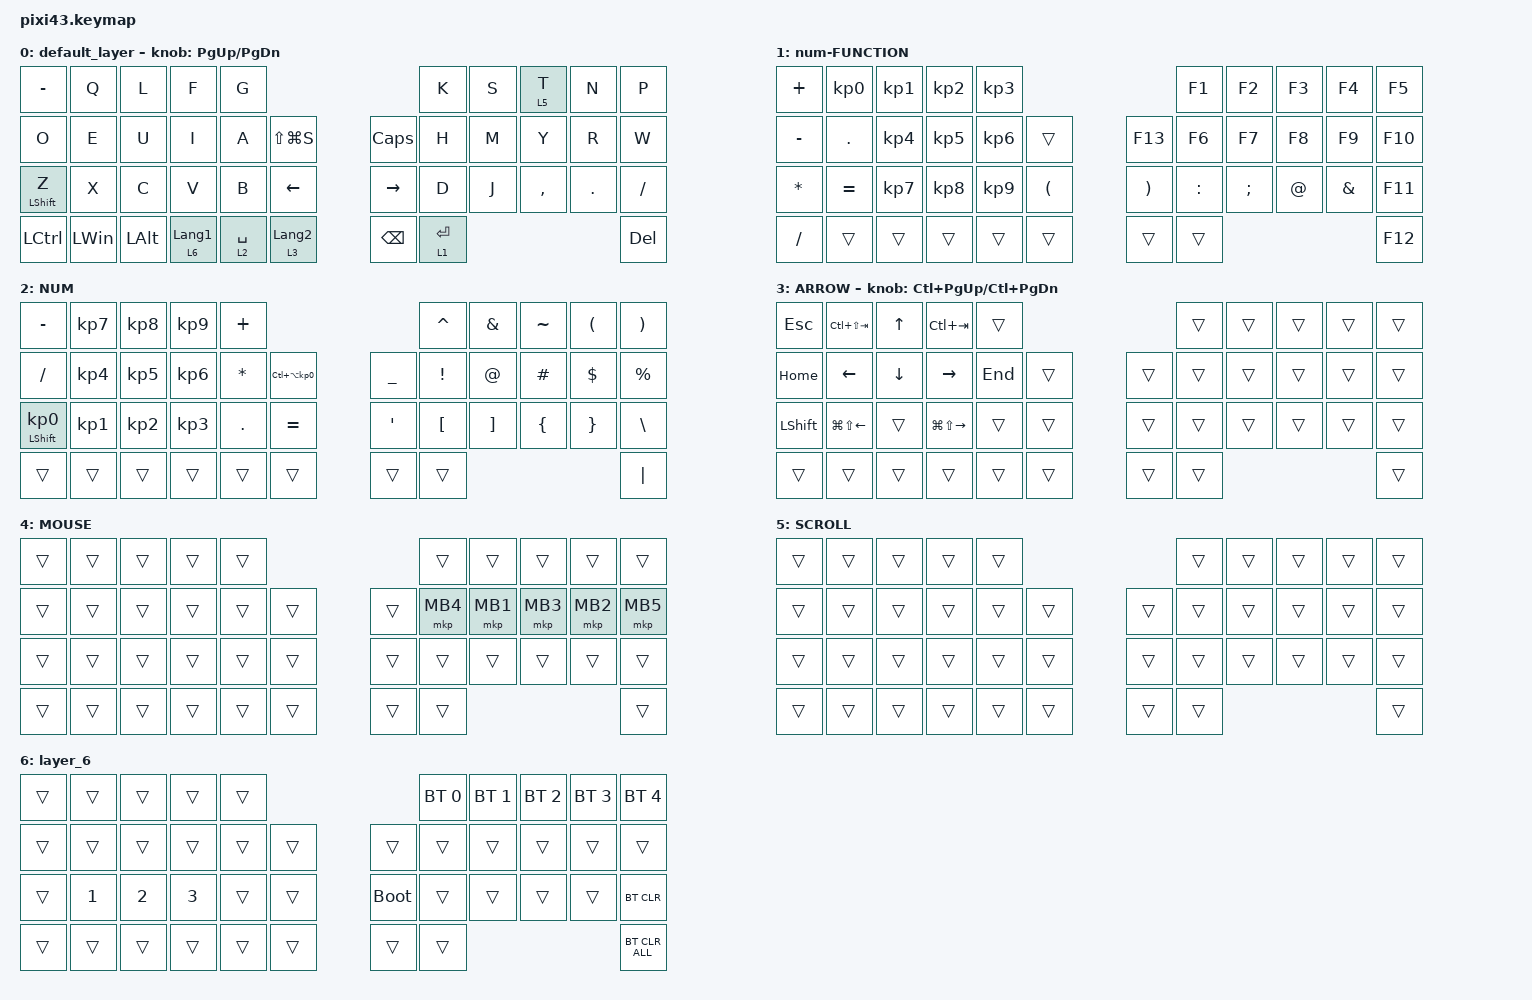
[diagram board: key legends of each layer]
#include <behaviors.dtsi>
#include <dt-bindings/zmk/bt.h>
#include <dt-bindings/zmk/keys.h>
#include <dt-bindings/zmk/pointing.h>

&mt {
    flavor = "balanced";
    quick-tap-ms = <0>;
};

&trackball {
    automouse-layer = <4>;
    scroll-layers = <5>;

    // arrows {
    //     layers = <3>;
    //     bindings =
    //         <&kp RIGHT_ARROW>,
    //         <&kp LEFT_ARROW>,
    //         <&kp UP_ARROW>,
    //         <&kp DOWN_ARROW>;
    //     tick = <10>;
    //     wait-ms = <5>;
    //     tap-ms = <5>;
    // };
};

/ {
    combos {
        compatible = "zmk,combos";

        tab {
            bindings = <&kp TAB>;
            key-positions = <11 12>;
        };

        shift_tab {
            bindings = <&kp LS(TAB)>;
            key-positions = <12 13>;
        };

        muhennkann {
            bindings = <&to_layer_0 INT_MUHENKAN>;
            key-positions = <11 10>;
        };

        double_quotation {
            bindings = <&kp DOUBLE_QUOTES>;
            key-positions = <20 21>;
        };

        eq {
            bindings = <&kp EQUAL>;
            key-positions = <24 25>;
        };
    };

    macros {
        to_layer_0: to_layer_0 {
            compatible = "zmk,behavior-macro-one-param";
            #binding-cells = <1>;
            bindings = <&to 0 &macro_param_1to1 &kp MACRO_PLACEHOLDER>;
            label = "TO_LAYER_0";
        };
    };

    behaviors {
        lt_to_layer_0: lt_to_layer_0 {
            compatible = "zmk,behavior-hold-tap";
            label = "LAYER_TAP_TO_0";
            bindings = <&mo>, <&to_layer_0>;

            #binding-cells = <2>;
            tapping-term-ms = <200>;
        };
    };

    keymap {
        compatible = "zmk,keymap";

        default_layer {
            bindings = <
&kp MINUS         &kp Q         &kp L         &kp F                        &kp G                                                        &kp K        &kp S  &lt 5 T    &kp N    &kp P
&kp O             &kp E         &kp U         &kp I                        &kp A        &kp LS(LG(S))                    &kp CLCK       &kp H        &kp M  &kp Y      &kp R    &kp W
&mt LEFT_SHIFT Z  &kp X         &kp C         &kp V                        &kp B        &kp LEFT_ARROW                   &kp RIGHT      &kp D        &kp J  &kp COMMA  &kp DOT  &kp SLASH
&kp LCTRL         &kp LEFT_WIN  &kp LEFT_ALT  &lt_to_layer_0 6 LANGUAGE_1  &lt 2 SPACE  &lt_to_layer_0 3 LANGUAGE_2      &kp BACKSPACE  &lt 1 ENTER                             &kp DEL
            >;

            sensor-bindings = <&inc_dec_kp PG_UP PAGE_DOWN>;
        };

        num-FUNCTION {
            bindings = <
&kp PLUS      &kp KP_NUMBER_0  &kp KP_NUMBER_1  &kp KP_NUMBER_2  &kp KP_NUMBER_3                                                   &kp F1     &kp F2         &kp F3       &kp F4         &kp F5
&kp MINUS     &kp DOT          &kp KP_NUMBER_4  &kp KP_NUMBER_5  &kp KP_NUMBER_6  &trans                    &kp F13                &kp F6     &kp F7         &kp F8       &kp F9         &kp F10
&kp ASTERISK  &kp EQUAL        &kp KP_NUMBER_7  &kp KP_NUMBER_8  &kp KP_NUMBER_9  &kp LEFT_PARENTHESIS      &kp RIGHT_PARENTHESIS  &kp COLON  &kp SEMICOLON  &kp AT_SIGN  &kp AMPERSAND  &kp F11
&kp SLASH     &trans           &trans           &trans           &trans           &trans                    &trans                 &trans                                                &kp F12
            >;
        };

        NUM {
            bindings = <
&kp MINUS                   &kp KP_NUMBER_7  &kp KP_NUMBER_8  &kp KP_NUMBER_9  &kp PLUS                                                   &kp CARET         &kp AMPERSAND      &kp TILDE       &kp LEFT_PARENTHESIS  &kp RIGHT_PARENTHESIS
&kp SLASH                   &kp KP_NUMBER_4  &kp KP_NUMBER_5  &kp KP_NUMBER_6  &kp ASTERISK  &kp LC(LA(KP_NUMBER_0))      &kp UNDERSCORE  &kp EXCLAMATION   &kp AT_SIGN        &kp HASH        &kp DOLLAR            &kp PERCENT
&mt LEFT_SHIFT KP_NUMBER_0  &kp KP_NUMBER_1  &kp KP_NUMBER_2  &kp KP_NUMBER_3  &kp PERIOD    &kp EQUAL                    &kp SQT         &kp LEFT_BRACKET  &kp RIGHT_BRACKET  &kp LEFT_BRACE  &kp RIGHT_BRACE       &kp BACKSLASH
&trans                      &trans           &trans           &trans           &trans        &trans                       &trans          &trans                                                                     &kp PIPE
            >;
        };

        ARROW {
            bindings = <
&kp ESCAPE      &kp LC(LS(TAB))         &kp UP_ARROW    &kp LC(TAB)              &trans                       &trans  &trans  &trans  &trans  &trans
&kp HOME        &kp LEFT_ARROW          &kp DOWN_ARROW  &kp RIGHT_ARROW          &kp END  &trans      &trans  &trans  &trans  &trans  &trans  &trans
&kp LEFT_SHIFT  &kp LG(LS(LEFT_ARROW))  &trans          &kp LG(LS(RIGHT_ARROW))  &trans   &trans      &trans  &trans  &trans  &trans  &trans  &trans
&trans          &trans                  &trans          &trans                   &trans   &trans      &trans  &trans                          &trans
            >;

            sensor-bindings = <&inc_dec_kp LC(PAGE_UP) LC(PAGE_DOWN)>;
        };

        MOUSE {
            bindings = <
&trans  &trans  &trans  &trans  &trans                      &trans    &trans    &trans    &trans    &trans
&trans  &trans  &trans  &trans  &trans  &trans      &trans  &mkp MB4  &mkp MB1  &mkp MB3  &mkp MB2  &mkp MB5
&trans  &trans  &trans  &trans  &trans  &trans      &trans  &trans    &trans    &trans    &trans    &trans
&trans  &trans  &trans  &trans  &trans  &trans      &trans  &trans                                  &trans
            >;
        };

        SCROLL {
            bindings = <
&trans  &trans  &trans  &trans  &trans                      &trans  &trans  &trans  &trans  &trans
&trans  &trans  &trans  &trans  &trans  &trans      &trans  &trans  &trans  &trans  &trans  &trans
&trans  &trans  &trans  &trans  &trans  &trans      &trans  &trans  &trans  &trans  &trans  &trans
&trans  &trans  &trans  &trans  &trans  &trans      &trans  &trans                          &trans
            >;
        };

        layer_6 {
            bindings = <
&trans  &trans        &trans        &trans        &trans                           &bt BT_SEL 0  &bt BT_SEL 1  &bt BT_SEL 2  &bt BT_SEL 3  &bt BT_SEL 4
&trans  &trans        &trans        &trans        &trans  &trans      &trans       &trans        &trans        &trans        &trans        &trans
&trans  &kp NUMBER_1  &kp NUMBER_2  &kp NUMBER_3  &trans  &trans      &bootloader  &trans        &trans        &trans        &trans        &bt BT_CLR
&trans  &trans        &trans        &trans        &trans  &trans      &trans       &trans                                                  &bt BT_CLR_ALL
            >;
        };
    };
};
